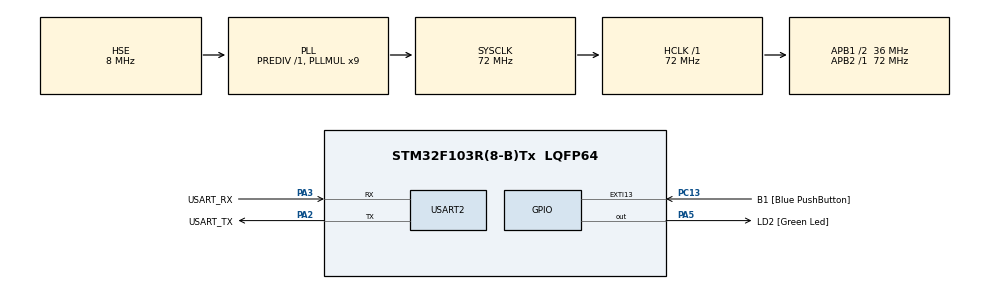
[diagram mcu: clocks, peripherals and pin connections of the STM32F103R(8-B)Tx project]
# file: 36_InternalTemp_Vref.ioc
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ADC1.Channel-0\#ChannelRegularConversion=ADC_CHANNEL_VREFINT
ADC1.Channel-1\#ChannelRegularConversion=ADC_CHANNEL_TEMPSENSOR
ADC1.ExternalTrigConv=ADC_EXTERNALTRIGCONV_T3_TRGO
ADC1.NbrOfConversion=2
ADC1.NbrOfConversionFlag=1
ADC1.Rank-0\#ChannelRegularConversion=1
ADC1.Rank-1\#ChannelRegularConversion=2
ADC1.SamplingTime-0\#ChannelRegularConversion=ADC_SAMPLETIME_239CYCLES_5
ADC1.SamplingTime-1\#ChannelRegularConversion=ADC_SAMPLETIME_239CYCLES_5
ADC1.master=1
Dma.ADC1.0.Direction=DMA_PERIPH_TO_MEMORY
Dma.ADC1.0.Instance=DMA1_Channel1
Dma.ADC1.0.MemDataAlignment=DMA_MDATAALIGN_HALFWORD
Dma.ADC1.0.MemInc=DMA_MINC_ENABLE
Dma.ADC1.0.Mode=DMA_CIRCULAR
Dma.ADC1.0.PeriphDataAlignment=DMA_PDATAALIGN_HALFWORD
Dma.ADC1.0.PeriphInc=DMA_PINC_DISABLE
Dma.ADC1.0.Priority=DMA_PRIORITY_LOW
Dma.Request0=ADC1
Mcu.Family=STM32F1
Mcu.Name=STM32F103R(8-B)Tx
Mcu.Package=LQFP64
NVIC.DMA1_Channel1_IRQn=true\:0\:0\:false\:false\:true\:false\:true\:true
NVIC.EXTI15_10_IRQn=true\:0\:0\:false\:false\:true\:true\:true\:true
NVIC.PriorityGroup=NVIC_PRIORITYGROUP_4
PA13.GPIO_Label=TMS
PA13.Mode=Serial_Wire
PA13.Signal=SYS_JTMS-SWDIO
PA14.GPIO_Label=TCK
PA14.Mode=Serial_Wire
PA14.Signal=SYS_JTCK-SWCLK
PA2.GPIO_Label=USART_TX
PA2.GPIO_Mode=GPIO_MODE_AF_PP
PA2.GPIO_PuPd=GPIO_NOPULL
PA2.GPIO_Speed=GPIO_SPEED_FREQ_LOW
PA2.Mode=Asynchronous
PA2.Signal=USART2_TX
PA3.GPIO_Label=USART_RX
PA3.GPIO_Mode=GPIO_MODE_AF_PP
PA3.GPIO_PuPd=GPIO_NOPULL
PA3.GPIO_Speed=GPIO_SPEED_FREQ_LOW
PA3.Mode=Asynchronous
PA3.Signal=USART2_RX
PA5.GPIO_Label=LD2 [Green Led]
PA5.GPIO_ModeDefaultOutputPP=GPIO_MODE_OUTPUT_PP
PA5.GPIO_PuPd=GPIO_NOPULL
PA5.GPIO_Speed=GPIO_SPEED_FREQ_LOW
PA5.Signal=GPIO_Output
PB3.GPIO_Label=SWO
PB3.Signal=SYS_JTDO-TRACESWO
PC13-TAMPER-RTC.GPIO_Label=B1 [Blue PushButton]
PC13-TAMPER-RTC.GPIO_PuPd=GPIO_NOPULL
PC13-TAMPER-RTC.Signal=GPXTI13
PC14-OSC32_IN.Mode=LSE-External-Oscillator
PC14-OSC32_IN.Signal=RCC_OSC32_IN
PC15-OSC32_OUT.Mode=LSE-External-Oscillator
PC15-OSC32_OUT.Signal=RCC_OSC32_OUT
PD0-OSC_IN.Mode=HSE-External-Oscillator
PD0-OSC_IN.Signal=RCC_OSC_IN
PD1-OSC_OUT.Mode=HSE-External-Oscillator
PD1-OSC_OUT.Signal=RCC_OSC_OUT
ProjectManager.HeapSize=0x200
ProjectManager.StackSize=0x400
ProjectManager.TargetToolchain=CMake
RCC.ADCPresc=RCC_ADCPCLK2_DIV6
RCC.AHBFreq_Value=72000000
RCC.APB1CLKDivider=RCC_HCLK_DIV2
RCC.APB1Freq_Value=36000000
RCC.APB1TimFreq_Value=72000000
RCC.APB2Freq_Value=72000000
RCC.APB2TimFreq_Value=72000000
RCC.HCLKFreq_Value=72000000
RCC.PLLMUL=RCC_PLL_MUL9
RCC.PLLSourceVirtual=RCC_PLLSOURCE_HSE
RCC.RTCClockSelection=RCC_RTCCLKSOURCE_LSE
RCC.SYSCLKFreq_VALUE=72000000
RCC.SYSCLKSource=RCC_SYSCLKSOURCE_PLLCLK
RCC.USBFreq_Value=72000000
TIM3.AutoReloadPreload=TIM_AUTORELOAD_PRELOAD_ENABLE
TIM3.Period=59999
TIM3.Prescaler=23
TIM3.TIM_MasterOutputTrigger=TIM_TRGO_UPDATE
USART2.VirtualMode=VM_ASYNC
VP_ADC1_TempSens_Input.Mode=IN-TempSens
VP_ADC1_Vref_Input.Mode=IN-Vrefint
VP_TIM3_VS_ClockSourceINT.Mode=Internal
board=NUCLEO-F103RB

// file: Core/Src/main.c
/* USER CODE BEGIN Header */
/**
  ******************************************************************************
  * @file           : main.c
  * @brief          : Main program body
  ******************************************************************************
  * @attention
  *
  * Copyright (c) 2025 STMicroelectronics.
  * All rights reserved.
  *
  * This software is licensed under terms that can be found in the LICENSE file
  * in the root directory of this software component.
  * If no LICENSE file comes with this software, it is provided AS-IS.
  *
  ******************************************************************************
  */
/* USER CODE END Header */
#include "main.h"
#include "adc.h"
#include "dma.h"
#include "tim.h"
#include "usart.h"
#include "gpio.h"

/* USER CODE BEGIN Includes */

#include <stdio.h>
#include <string.h>

/* USER CODE END Includes */

/* USER CODE BEGIN PTD */

#define AVG_SLOPE (4.3F)
#define V_AT_25   (1.43F)
#define V_REF_INT (1.2F)

/* USER CODE END PTD */

/* USER CODE BEGIN PV */

uint8_t UpdateEvent = 0;
uint16_t AD_RES[2] = {0};
float Temperature, V_Sense, V_Ref = 0.0;
char TxBuffer[30] = {0};

/* USER CODE END PV */

void SystemClock_Config(void);

int main(void)
{

  /* MCU Configuration--------------------------------------------------------*/

  /* Reset of all peripherals, Initializes the Flash interface and the Systick. */
  HAL_Init();

  /* Configure the system clock */
  SystemClock_Config();

  /* Initialize all configured peripherals */
  MX_GPIO_Init();
  MX_DMA_Init();
  MX_ADC1_Init();
  MX_USART2_UART_Init();
  MX_TIM3_Init();
  /* USER CODE BEGIN 2 */

  HAL_TIM_Base_Start(&htim3);
  HAL_ADCEx_Calibration_Start(&hadc1);
  HAL_ADC_Start_DMA(&hadc1, (uint32_t*)AD_RES, 2);

  /* USER CODE END 2 */

  /* Infinite loop */
  /* USER CODE BEGIN WHILE */
  while (1)
  {

    if(UpdateEvent)
    {
      //Calculate the temperature
      V_Ref =   (float)((V_REF_INT * 4095.0)/AD_RES[0]);
      V_Sense = (float)(AD_RES[1] * V_Ref)/4095.0;
      Temperature = (((V_AT_25 - V_Sense) * 1000.0) / AVG_SLOPE) + 25.0;

      //Send result over serial
      sprintf(TxBuffer, "%f\r\n", Temperature);
      HAL_UART_Transmit(&huart2, (uint8_t*)TxBuffer, strlen(TxBuffer), 100);
      UpdateEvent = 0;
    }
    /* USER CODE END WHILE */

  }
}

void SystemClock_Config(void)
{
  RCC_OscInitTypeDef RCC_OscInitStruct = {0};
  RCC_ClkInitTypeDef RCC_ClkInitStruct = {0};
  RCC_PeriphCLKInitTypeDef PeriphClkInit = {0};

  /** Initializes the RCC Oscillators according to the specified parameters
  * in the RCC_OscInitTypeDef structure.
  */
  RCC_OscInitStruct.OscillatorType = RCC_OSCILLATORTYPE_HSE;
  RCC_OscInitStruct.HSEState = RCC_HSE_ON;
  RCC_OscInitStruct.HSEPredivValue = RCC_HSE_PREDIV_DIV1;
  RCC_OscInitStruct.HSIState = RCC_HSI_ON;
  RCC_OscInitStruct.PLL.PLLState = RCC_PLL_ON;
  RCC_OscInitStruct.PLL.PLLSource = RCC_PLLSOURCE_HSE;
  RCC_OscInitStruct.PLL.PLLMUL = RCC_PLL_MUL9;
  if (HAL_RCC_OscConfig(&RCC_OscInitStruct) != HAL_OK)
  {
    Error_Handler();
  }

  /** Initializes the CPU, AHB and APB buses clocks
  */
  RCC_ClkInitStruct.ClockType = RCC_CLOCKTYPE_HCLK|RCC_CLOCKTYPE_SYSCLK
                              |RCC_CLOCKTYPE_PCLK1|RCC_CLOCKTYPE_PCLK2;
  RCC_ClkInitStruct.SYSCLKSource = RCC_SYSCLKSOURCE_PLLCLK;
  RCC_ClkInitStruct.AHBCLKDivider = RCC_SYSCLK_DIV1;
  RCC_ClkInitStruct.APB1CLKDivider = RCC_HCLK_DIV2;
  RCC_ClkInitStruct.APB2CLKDivider = RCC_HCLK_DIV1;

  if (HAL_RCC_ClockConfig(&RCC_ClkInitStruct, FLASH_LATENCY_2) != HAL_OK)
  {
    Error_Handler();
  }
  PeriphClkInit.PeriphClockSelection = RCC_PERIPHCLK_ADC;
  PeriphClkInit.AdcClockSelection = RCC_ADCPCLK2_DIV6;
  if (HAL_RCCEx_PeriphCLKConfig(&PeriphClkInit) != HAL_OK)
  {
    Error_Handler();
  }
}

/* USER CODE BEGIN 4 */

void HAL_ADC_ConvCpltCallback(ADC_HandleTypeDef* hadc)
{
  //Fnc. for measuring tmimng
  HAL_GPIO_TogglePin(LD2_GPIO_Port, LD2_Pin);
  //Enable global flag
  UpdateEvent = 1;
}

/* USER CODE END 4 */

void Error_Handler(void)
{
  __disable_irq();
  while (1)
  {
  }
}
